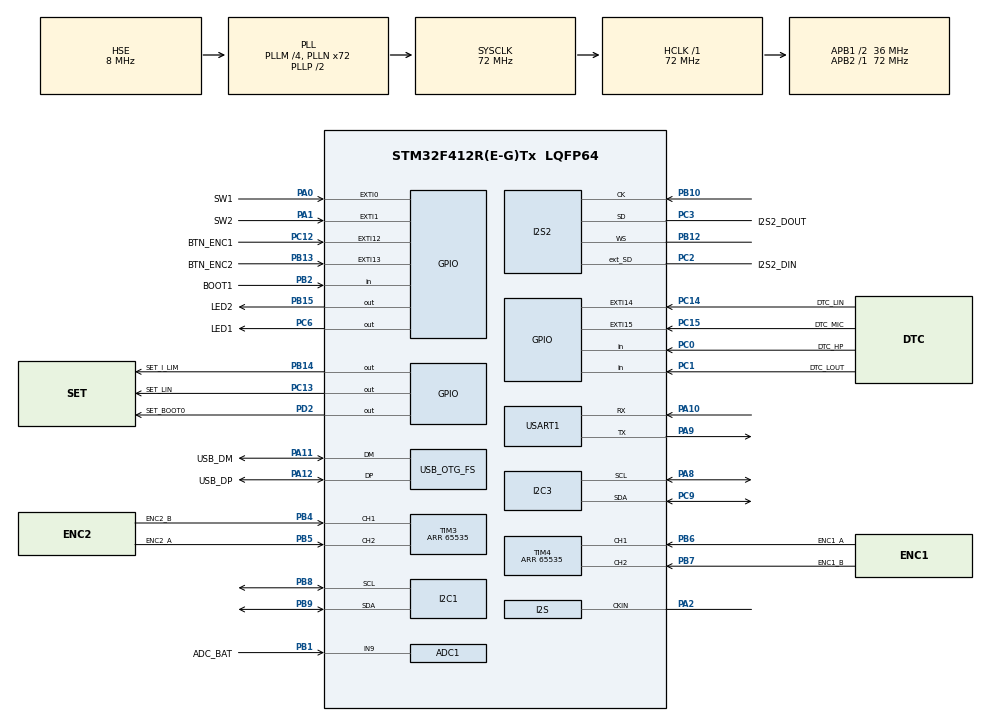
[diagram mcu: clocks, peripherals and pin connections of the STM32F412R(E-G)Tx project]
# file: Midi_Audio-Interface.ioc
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ADC1.Channel-1\#ChannelRegularConversion=ADC_CHANNEL_9
ADC1.NbrOfConversionFlag=1
ADC1.Rank-1\#ChannelRegularConversion=1
ADC1.SamplingTime-1\#ChannelRegularConversion=ADC_SAMPLETIME_3CYCLES
ADC1.master=1
Dma.I2S2_EXT_RX.0.Direction=DMA_PERIPH_TO_MEMORY
Dma.I2S2_EXT_RX.0.FIFOMode=DMA_FIFOMODE_ENABLE
Dma.I2S2_EXT_RX.0.FIFOThreshold=DMA_FIFO_THRESHOLD_HALFFULL
Dma.I2S2_EXT_RX.0.Instance=DMA1_Stream3
Dma.I2S2_EXT_RX.0.MemBurst=DMA_MBURST_SINGLE
Dma.I2S2_EXT_RX.0.MemDataAlignment=DMA_MDATAALIGN_HALFWORD
Dma.I2S2_EXT_RX.0.MemInc=DMA_MINC_ENABLE
Dma.I2S2_EXT_RX.0.Mode=DMA_CIRCULAR
Dma.I2S2_EXT_RX.0.PeriphBurst=DMA_PBURST_SINGLE
Dma.I2S2_EXT_RX.0.PeriphDataAlignment=DMA_PDATAALIGN_HALFWORD
Dma.I2S2_EXT_RX.0.PeriphInc=DMA_PINC_DISABLE
Dma.I2S2_EXT_RX.0.Priority=DMA_PRIORITY_HIGH
Dma.Request0=I2S2_EXT_RX
Dma.Request1=SPI2_TX
Dma.SPI2_TX.1.Direction=DMA_MEMORY_TO_PERIPH
Dma.SPI2_TX.1.FIFOMode=DMA_FIFOMODE_ENABLE
Dma.SPI2_TX.1.FIFOThreshold=DMA_FIFO_THRESHOLD_HALFFULL
Dma.SPI2_TX.1.Instance=DMA1_Stream4
Dma.SPI2_TX.1.MemBurst=DMA_MBURST_SINGLE
Dma.SPI2_TX.1.MemDataAlignment=DMA_MDATAALIGN_HALFWORD
Dma.SPI2_TX.1.MemInc=DMA_MINC_ENABLE
Dma.SPI2_TX.1.Mode=DMA_CIRCULAR
Dma.SPI2_TX.1.PeriphBurst=DMA_PBURST_SINGLE
Dma.SPI2_TX.1.PeriphDataAlignment=DMA_PDATAALIGN_HALFWORD
Dma.SPI2_TX.1.PeriphInc=DMA_PINC_DISABLE
Dma.SPI2_TX.1.Priority=DMA_PRIORITY_HIGH
I2S2.AudioFreq=I2S_AUDIOFREQ_48K
I2S2.DataFormat=I2S_DATAFORMAT_16B_EXTENDED
I2S2.ErrorAudioFreq=0.0 %
I2S2.FullDuplexMode=I2S_FULLDUPLEXMODE_ENABLE
I2S2.Instance=SPI$Index
I2S2.RealAudioFreq=48.0 KHz
I2S2.Standard=I2S_STANDARD_MSB
I2S2.VirtualMode=I2S_MODE_SLAVE
Mcu.Family=STM32F4
Mcu.Name=STM32F412R(E-G)Tx
Mcu.Package=LQFP64
NVIC.DMA1_Stream3_IRQn=true\:0\:0\:false\:false\:true\:false\:true
NVIC.DMA1_Stream4_IRQn=true\:0\:0\:false\:false\:true\:false\:true
NVIC.EXTI0_IRQn=true\:0\:0\:false\:false\:true\:true\:true
NVIC.EXTI15_10_IRQn=true\:0\:0\:false\:false\:true\:true\:true
NVIC.EXTI1_IRQn=true\:0\:0\:false\:false\:true\:true\:true
NVIC.OTG_FS_IRQn=true\:0\:0\:false\:false\:true\:true\:true
NVIC.PriorityGroup=NVIC_PRIORITYGROUP_4
NVIC.RNG_IRQn=true\:0\:0\:false\:false\:true\:true\:true
PA0.GPIO_Label=SW1
PA0.Signal=GPXTI0
PA1.GPIO_Label=SW2
PA1.Signal=GPXTI1
PA10.Mode=Asynchronous
PA10.Signal=USART1_RX
PA11.GPIO_Label=USB_DM
PA11.Mode=Device_Only
PA11.Signal=USB_OTG_FS_DM
PA12.GPIO_Label=USB_DP
PA12.Mode=Device_Only
PA12.Signal=USB_OTG_FS_DP
PA13.Mode=JTAG_4_pins
PA13.Signal=SYS_JTMS-SWDIO
PA14.Mode=JTAG_4_pins
PA14.Signal=SYS_JTCK-SWCLK
PA15.Mode=JTAG_4_pins
PA15.Signal=SYS_JTDI
PA2.Mode=Audio_ClockIn
PA2.Signal=I2S_CKIN
PA8.Mode=I2C
PA8.Signal=I2C3_SCL
PA9.Mode=Asynchronous
PA9.Signal=USART1_TX
PB1.GPIO_Label=ADC_BAT
PB1.Signal=ADCx_IN9
PB10.Mode=Full_Duplex_Slave
PB10.Signal=I2S2_CK
PB12.Mode=Full_Duplex_Slave
PB12.Signal=I2S2_WS
PB13.GPIO_Label=BTN_ENC2
PB13.Signal=GPXTI13
PB14.GPIO_Label=SET_I_LIM
PB14.Signal=GPIO_Output
PB15.GPIO_Label=LED2
PB15.Signal=GPIO_Output
PB2.GPIO_Label=BOOT1
PB2.Signal=GPIO_Input
PB3.Mode=JTAG_4_pins
PB3.Signal=SYS_JTDO-SWO
PB4.GPIO_Label=ENC2_B
PB4.Signal=S_TIM3_CH1
PB5.GPIO_Label=ENC2_A
PB5.Signal=S_TIM3_CH2
PB6.GPIO_Label=ENC1_A
PB6.Signal=S_TIM4_CH1
PB7.GPIO_Label=ENC1_B
PB7.Signal=S_TIM4_CH2
PB8.Mode=I2C
PB8.Signal=I2C1_SCL
PB9.Mode=I2C
PB9.Signal=I2C1_SDA
PC0.GPIO_Label=DTC_HP
PC0.Signal=GPIO_Input
PC1.GPIO_Label=DTC_LOUT
PC1.Signal=GPIO_Input
PC12.GPIO_Label=BTN_ENC1
PC12.Signal=GPXTI12
PC13.GPIO_Label=SET_LIN
PC13.Signal=GPIO_Output
PC14-OSC32_IN.GPIO_Label=DTC_LIN
PC14-OSC32_IN.GPIO_ModeDefaultEXTI=GPIO_MODE_IT_RISING_FALLING
PC14-OSC32_IN.Signal=GPXTI14
PC15-OSC32_OUT.GPIO_Label=DTC_MIC
PC15-OSC32_OUT.GPIO_ModeDefaultEXTI=GPIO_MODE_IT_RISING_FALLING
PC15-OSC32_OUT.Signal=GPXTI15
PC2.GPIO_Label=I2S2_DIN
PC2.Mode=Full_Duplex_Slave
PC2.Signal=I2S2_ext_SD
PC3.GPIO_Label=I2S2_DOUT
PC3.Mode=Full_Duplex_Slave
PC3.Signal=I2S2_SD
PC6.GPIO_Label=LED1
PC6.Signal=GPIO_Output
PC9.Mode=I2C
PC9.Signal=I2C3_SDA
PD2.GPIO_Label=SET_BOOT0
PD2.Signal=GPIO_Output
PH0\ -\ OSC_IN.Mode=HSE-External-Oscillator
PH0\ -\ OSC_IN.Signal=RCC_OSC_IN
PH1\ -\ OSC_OUT.Mode=HSE-External-Oscillator
PH1\ -\ OSC_OUT.Signal=RCC_OSC_OUT
ProjectManager.HeapSize=0x2800
ProjectManager.StackSize=0x400
ProjectManager.TargetToolchain=STM32CubeIDE
RCC.AHBFreq_Value=72000000
RCC.APB1CLKDivider=RCC_HCLK_DIV2
RCC.APB1Freq_Value=36000000
RCC.APB1TimFreq_Value=72000000
RCC.APB2Freq_Value=72000000
RCC.APB2TimFreq_Value=72000000
RCC.CortexFreq_Value=72000000
RCC.EXTERNAL_CLOCK_VALUE=12288000
RCC.HCLKFreq_Value=72000000
RCC.HSE_VALUE=8000000
RCC.I2S1CLockSelection=RCC_I2SAPB1CLKSOURCE_EXT
RCC.PLLI2SM=6
RCC.PLLI2SN=75
RCC.PLLI2SSource=RCC_PLLI2SCLKSOURCE_EXT
RCC.PLLM=4
RCC.PLLN=72
RCC.PLLQ=3
RCC.PLLSourceVirtual=RCC_PLLSOURCE_HSE
RCC.SYSCLKFreq_VALUE=72000000
RCC.SYSCLKSource=RCC_SYSCLKSOURCE_PLLCLK
RCC.USBFreq_Value=48000000
RCC.VCOOutputFreq_Value=144000000
SH.ADCx_IN9.0=ADC1_IN9,IN9
SH.S_TIM3_CH1.0=TIM3_CH1,Encoder_Interface
SH.S_TIM3_CH2.0=TIM3_CH2,Encoder_Interface
SH.S_TIM4_CH1.0=TIM4_CH1,Encoder_Interface
SH.S_TIM4_CH2.0=TIM4_CH2,Encoder_Interface
TIM3.CounterMode=TIM_COUNTERMODE_UP
TIM3.EncoderMode=TIM_ENCODERMODE_TI1
TIM3.IC1Filter=10
TIM3.IC2Filter=10
TIM3.Period=65535
TIM4.IC1Filter=10
TIM4.IC2Filter=10
TIM4.Period=65535
USART1.VirtualMode=VM_ASYNC
USB_DEVICE.CLASS_NAME_FS=AUDIO
USB_DEVICE.MANUFACTURER_STRING=Audio Interface
USB_DEVICE.PRODUCT_STRING_AUDIO_FS=DSP-Board
USB_DEVICE.USBD_AUDIO_FREQ=48000
USB_DEVICE.USBD_DEBUG_LEVEL=3
USB_DEVICE.USBD_MAX_NUM_INTERFACES=8
USB_DEVICE.VirtualMode=Audio
USB_DEVICE.VirtualModeFS=Audio_FS
USB_OTG_FS.Sof_enable=DISABLE
USB_OTG_FS.VirtualMode=Device_Only
VP_RNG_VS_RNG.Mode=RNG_Activate
VP_USB_DEVICE_VS_USB_DEVICE_AUDIO_FS.Mode=AUDIO_FS
board=custom

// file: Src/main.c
/* USER CODE BEGIN Header */
/**
  ******************************************************************************
  * @file           : main.c
  * @brief          : Main program body
  ******************************************************************************
  * @attention
  *
  * <h2><center>&copy; Copyright (c) 2020 STMicroelectronics.
  * All rights reserved.</center></h2>
  *
  * This software component is licensed by ST under Ultimate Liberty license
  * SLA0044, the "License"; You may not use this file except in compliance with
  * the License. You may obtain a copy of the License at:
  *                             www.st.com/SLA0044
  *
  ******************************************************************************
  */
/* USER CODE END Header */
#include "main.h"
#include "usb_device.h"

/* USER CODE BEGIN Includes */
#include <stdio.h>
#include <stdlib.h>
#include <math.h>
#include "ssd1306.h"
#include "tlv320aic.h"
#include "dsp_board_bsp.h"
#include "dsp_processing.h"

#include "usbd_core.h"
#include "usbd_desc.h"
#include "usbd_audio.h"
#include "usbd_audio_if.h"

/* USER CODE END Includes */

/* USER CODE BEGIN PD */
// #define ENABLE_PRINTF
#define HAL_PWR_MODULE_ENABLED
/* USER CODE END PD */

ADC_HandleTypeDef hadc1;

I2C_HandleTypeDef hi2c1;
I2C_HandleTypeDef hi2c3;

I2S_HandleTypeDef hi2s2;
DMA_HandleTypeDef hdma_i2s2_ext_rx;
DMA_HandleTypeDef hdma_spi2_tx;

RNG_HandleTypeDef hrng;

TIM_HandleTypeDef htim3;
TIM_HandleTypeDef htim4;

UART_HandleTypeDef huart1;

/* USER CODE BEGIN PV */
//SAI_HandleTypeDef haudio_out_sai;
USBD_HandleTypeDef USBD_Device;
//AUDIO_STATUS_TypeDef audio_status;

SSD1306_t holedR;
SSD1306_t holedL;

uint16_t pTxData[DSP_BUFFERSIZE_DOUBLE];
uint16_t pRxData[DSP_BUFFERSIZE_DOUBLE];
uint16_t sinWave[256];

volatile uint8_t btnLeftPressed = 0;
volatile uint8_t btnRightPressed = 0;
volatile uint8_t encLeftPressed = 0;
volatile uint8_t encRightPressed = 0;
volatile uint8_t dmaTransferComplete = 0;

int16_t encoder_change=0;
char lcd_buf[64];
uint8_t level=0; //akku level state
parameter *para0,*para1,*para2,*para3;
statemachine state_crrnt=IN;
statemachine state_nxt=IN;
int *volume_line;
int *volume_hp;
effect In;

extern volatile uint16_t dsp_mode;
extern volatile uint32_t buffer_offset;

/* Define external variables*/

USBD_AUDIO_ItfTypeDef audio_class_interface;
/* USER CODE END PV */

void SystemClock_Config(void);
static void MX_GPIO_Init(void);
static void MX_DMA_Init(void);
static void MX_I2C1_Init(void);
static void MX_I2C3_Init(void);
static void MX_USART1_UART_Init(void);
static void MX_I2S2_Init(void);
static void MX_TIM3_Init(void);
static void MX_TIM4_Init(void);
static void MX_RNG_Init(void);
static void MX_ADC1_Init(void);
/* USER CODE BEGIN PFP */
void showFX(effect *fx);
void updateAkku(void);
void clearFX(void);
/* USER CODE END PFP */

/* USER CODE BEGIN 0 */
/* PRINTF REDIRECT to UART BEGIN */
/** @see    http://www.keil.com/forum/60531/ */
/** @see    https://stackoverflow.com/questions/45535126/stm32-printf-redirect */

struct __FILE{
  int handle;
  /* Whatever you require here. If the only file you are using is */
  /* standard output using printf() for debugging, no file handling */
  /* is required. */
};

FILE __stdout;

int fputc(int ch, FILE *f){
	HAL_UART_Transmit(&huart1, (uint8_t *)&ch, 1, 0xFFFF);
  return ch;
}

//int	 ferror(FILE *){
//  /* Your implementation of ferror(). */
//  return 0;
//}
/* PRINTF REDIRECT to UART END */

/* USER CODE END 0 */

int main(void)
{

  /* MCU Configuration--------------------------------------------------------*/

  /* Reset of all peripherals, Initializes the Flash interface and the Systick. */
  HAL_Init();

  /* USER CODE BEGIN Init */
	/* Init Device Library */
	USBD_Init(&USBD_Device, &FS_Desc, 0);

	/* Add Supported Class */
	USBD_RegisterClass(&USBD_Device, USBD_AUDIO_CLASS);

	/* Add Interface callbacks for AUDIO Class */
	USBD_AUDIO_RegisterInterface(&USBD_Device, &audio_class_interface);

	/* Start Device Process */
	USBD_Start(&USBD_Device);

  /* USER CODE END Init */

  /* Configure the system clock */
  SystemClock_Config();

  /* Initialize all configured peripherals */
  MX_GPIO_Init();
  MX_DMA_Init();
  MX_I2C1_Init();
  MX_I2C3_Init();
  MX_USART1_UART_Init();
  MX_I2S2_Init();
  MX_TIM3_Init();
  MX_TIM4_Init();
  MX_RNG_Init();
  MX_ADC1_Init();
  MX_USB_DEVICE_Init();
  /* USER CODE BEGIN 2 */

   /* Set up SSD1306 OLED Displays on both I2C Busses */
 	holedR.hi2cx = &hi2c3;
 	holedL.hi2cx = &hi2c1;
 	ssd1306_Init(&holedL);
 	ssd1306_Fill(&holedL, Black);
 	ssd1306_DrawHLine(&holedL,0,128,13,White);
 	ssd1306_DrawHLine(&holedL,0,128,48,White);
 	ssd1306_UpdateScreen(&holedL);
 	ssd1306_Init(&holedR);
 	ssd1306_Fill(&holedR, Black);
 	ssd1306_DrawHLine(&holedR,0,128,13,White);
 	ssd1306_DrawHLine(&holedR,0,128,48,White);
 	ssd1306_UpdateScreen(&holedR);

   /* If User Button is pressed on Startup, enter DFU Firmware Upgrade Mode */
 	if(HAL_GPIO_ReadPin(SW2_GPIO_Port, SW2_Pin) == GPIO_PIN_SET){
 		HAL_GPIO_WritePin(SET_BOOT0_GPIO_Port, SET_BOOT0_Pin, GPIO_PIN_SET);  // pull BOOT0 = 1
 		ssd1306_SetCursor(&holedL, 48, 23);
 		ssd1306_WriteString(&holedL, "DFU", Font_11x18, White);
 		ssd1306_UpdateScreen(&holedL);
 		ssd1306_SetCursor(&holedR, 42, 23);
 		ssd1306_WriteString(&holedR, "MODE", Font_11x18, White);
 		ssd1306_UpdateScreen(&holedR);
 		HAL_Delay(500);      // wait for Capacitor to charge to ~3.3V
 		NVIC_SystemReset();  // Reset the MCU
 	}else{
 		ssd1306_SetCursor(&holedL, 48, 23);
 		ssd1306_WriteString(&holedL, "DSP", Font_11x18, White);
 		ssd1306_UpdateScreen(&holedL);
 		ssd1306_SetCursor(&holedR, 37, 23);
 		ssd1306_WriteString(&holedR, "BOARD", Font_11x18, White);
 		ssd1306_UpdateScreen(&holedR);
 	}

 	/* Start ADC for Battery Voltage */
 	HAL_ADC_Start(&hadc1);
 	if(HAL_ADC_PollForConversion(&hadc1, 5) == HAL_OK){
 		HAL_ADC_GetValue(&hadc1);
 	}

 	/* Start both Timers in Encoder Mode for Rotary Encoders */
 	HAL_TIM_Encoder_Start(&htim3, TIM_CHANNEL_1); // start encoder mode
 	HAL_TIM_Encoder_Start(&htim4, TIM_CHANNEL_1);
 	TIM3->CNT = 0; // initialize zero
 	TIM4->CNT = 0;

 	/* define the input state */
 	strcpy(In.title,"Input");
 	strcpy(In.par0.name,"Line Vol");
 	In.par0.value=17; //Line Vol, init value
 	In.par0.max=22; //Line Vol, maximum
 	In.par0.min=0; //Line Vol, minimum
 	In.par0.change=1; //Line Vol, step size
 	strcpy(In.par1.name,"Source");
 	In.par1.value=3;
 	In.par1.max=3;
 	In.par1.min=0;
 	In.par1.change=1;
 	strcpy(In.par2.name,"HP Vol");
 	In.par2.value=70; //HP Vol, init value
 	In.par2.max=78; //HP Vol, maximum
 	In.par2.min=0; //HP Vol, minimum
 	In.par2.change=1; //HP Vol, step size

 	input_source=&In.par1.value;
 	volume_line=&In.par0.value;
 	volume_hp=&In.par2.value;

 	/* Init TLV320 Audio Codec */
 	TLV320_Init(&hi2c1);
 	BSP_SelectAudioIn(*input_source);
 	TLV320_SetLineInVol(*volume_line);
 	TLV320_SetHeadphoneVol(*volume_hp);

   /* Signal Processing */
 	dsp_mode = DSP_MODE_PASSTHROUGH;

 	/* Clear Audio Rx and Tx buffer for DMA */
 	for(uint16_t i=0; i<DSP_BUFFERSIZE_DOUBLE; i++){
 		pRxData[i] = 0;
 		pTxData[i] = 0;
 	}

 	/* Generate a 1kHz Sine Wave */
 	//uint16_t nDataPoints = BSP_SineWave(48000.0f, 1000.0f, 1000, sinWave, sizeof(sinWave)/sizeof(uint16_t));
 	uint8_t update_counter = 0;

	/* Start automatic DMA Transmission (Full Duplex) */
	/* Double buffer length, Interrupt on Half-Full */
	HAL_I2SEx_TransmitReceive_DMA(&hi2s2, pTxData, pRxData, DSP_BUFFERSIZE_DOUBLE);

	/* show startup screen for 1s (and then clear it) */
	HAL_Delay(1000);
	ssd1306_Fill(&holedR, Black);
	ssd1306_Fill(&holedL, Black);
	ssd1306_DrawHLine(&holedL,0,128,13,White);
	ssd1306_DrawHLine(&holedL,0,128,48,White);
	ssd1306_UpdateScreen(&holedL);
	ssd1306_DrawHLine(&holedR,0,128,13,White);
	ssd1306_DrawHLine(&holedR,0,128,48,White);
	ssd1306_UpdateScreen(&holedR);
	updateAkku();

  /* USER CODE END 2 */

  /* Infinite loop */
  while (1)
  {

    /* USER CODE BEGIN 3 */
//	  if (audio_status.playing) {
//		  HAL_GPIO_WritePin(LED1_GPIO_Port, LED1_Pin, GPIO_PIN_SET);
//	      } else {
//	    	  HAL_GPIO_WritePin(LED1_GPIO_Port, LED1_Pin, GPIO_PIN_RESET);
//	      }

	    if(state_nxt!=state_crrnt){
			clearFX();
			}

			state_crrnt = state_nxt;
			update_counter ++;

	    /* STATE MACHINE */
			switch (state_crrnt){
				case IN:
					showFX(&In);
					BSP_SelectAudioIn(*input_source);
					break;

	      /* State Machine Includes */

				default:
					break;
			}

			encoder_change = BSP_ReadEncoder_Difference(ENCODER_LEFT);
			if(encoder_change){    // only execute when something changed
				(*para0).value+=encoder_change*(*para0).change;
				if((*para0).value<(*para0).min)
					(*para0).value=(*para0).min;
				if((*para0).value>(*para0).max)
					(*para0).value=(*para0).max;
			}

			encoder_change = BSP_ReadEncoder_Difference(ENCODER_RIGHT);
			if(encoder_change){    // only execute when something changed
				(*para2).value+=encoder_change*(*para2).change;
				if((*para2).value<(*para2).min)
					(*para2).value=(*para2).min;
				if((*para2).value>(*para2).max)
					(*para2).value=(*para2).max;
			}

			/* LEFT USER BUTTON */
			if(btnLeftPressed){
				btnLeftPressed= 0;
				if(state_crrnt==IN){
					if((*para1).value-1<(*para1).min)
						(*para1).value=(*para1).max;
					else
						(*para1).value-=1;
				}else{
				(*para1).value=!(*para1).value;
				}
			}

			/* RIGHT USER BUTTON */
			if(btnRightPressed){
				btnRightPressed= 0;
				if(state_crrnt==IN){
					if((*para1).value+1>(*para1).max)
						(*para1).value=(*para1).min;
					else
						(*para1).value+=1;
				}else{
					(*para3).value=!(*para3).value;
				}
			}

			/* LEFT ENCODER BUTTON */
			if(encLeftPressed){
				encLeftPressed = 0;
				/*switch to the previous state (limit first state)*/
				if(state_nxt-1<0){
				state_nxt=0;
				}else{
				state_nxt--;
				}
			}

			/* RIGHT ENCODER BUTTON */
			if(encRightPressed){
				encRightPressed = 0;
				/*switch to the next state (limit last state)*/
				if(state_nxt+1>CNT-1){
				state_nxt=CNT-1;
				}else{
				state_nxt++;
				}
			}

	    //limit line vol
			if(*volume_line>22)
				*volume_line=22;
			else if(*volume_line<0)
				*volume_line=0;
			//limit HP vol
			if(*volume_hp>78)
				*volume_hp=78;
			else if(*volume_hp<0)
				*volume_hp=0;
			TLV320_SetLineInVol(*volume_line);
			TLV320_SetHeadphoneVol(*volume_hp);

			/* update the battery level (every 50 counts) */
			if(update_counter >= 50){
				update_counter = 0;
				updateAkku();
			}

	  }
  /* USER CODE END 3 */
}

void SystemClock_Config(void)
{
  RCC_OscInitTypeDef RCC_OscInitStruct = {0};
  RCC_ClkInitTypeDef RCC_ClkInitStruct = {0};
  RCC_PeriphCLKInitTypeDef PeriphClkInitStruct = {0};

  /** Configure the main internal regulator output voltage
  */
  __HAL_RCC_PWR_CLK_ENABLE();
  __HAL_PWR_VOLTAGESCALING_CONFIG(PWR_REGULATOR_VOLTAGE_SCALE1);
  /** Initializes the RCC Oscillators according to the specified parameters
  * in the RCC_OscInitTypeDef structure.
  */
  RCC_OscInitStruct.OscillatorType = RCC_OSCILLATORTYPE_HSE;
  RCC_OscInitStruct.HSEState = RCC_HSE_ON;
  RCC_OscInitStruct.PLL.PLLState = RCC_PLL_ON;
  RCC_OscInitStruct.PLL.PLLSource = RCC_PLLSOURCE_HSE;
  RCC_OscInitStruct.PLL.PLLM = 4;
  RCC_OscInitStruct.PLL.PLLN = 72;
  RCC_OscInitStruct.PLL.PLLP = RCC_PLLP_DIV2;
  RCC_OscInitStruct.PLL.PLLQ = 3;
  RCC_OscInitStruct.PLL.PLLR = 2;
  if (HAL_RCC_OscConfig(&RCC_OscInitStruct) != HAL_OK)
  {
    Error_Handler();
  }
  /** Initializes the CPU, AHB and APB buses clocks
  */
  RCC_ClkInitStruct.ClockType = RCC_CLOCKTYPE_HCLK|RCC_CLOCKTYPE_SYSCLK
                              |RCC_CLOCKTYPE_PCLK1|RCC_CLOCKTYPE_PCLK2;
  RCC_ClkInitStruct.SYSCLKSource = RCC_SYSCLKSOURCE_PLLCLK;
  RCC_ClkInitStruct.AHBCLKDivider = RCC_SYSCLK_DIV1;
  RCC_ClkInitStruct.APB1CLKDivider = RCC_HCLK_DIV2;
  RCC_ClkInitStruct.APB2CLKDivider = RCC_HCLK_DIV1;

  if (HAL_RCC_ClockConfig(&RCC_ClkInitStruct, FLASH_LATENCY_2) != HAL_OK)
  {
    Error_Handler();
  }
  PeriphClkInitStruct.PeriphClockSelection = RCC_PERIPHCLK_I2S_APB1|RCC_PERIPHCLK_CLK48;
  PeriphClkInitStruct.Clk48ClockSelection = RCC_CLK48CLKSOURCE_PLLQ;
  PeriphClkInitStruct.I2sApb1ClockSelection = RCC_I2SAPB1CLKSOURCE_EXT;
  if (HAL_RCCEx_PeriphCLKConfig(&PeriphClkInitStruct) != HAL_OK)
  {
    Error_Handler();
  }
}

static void MX_ADC1_Init(void)
{

  ADC_ChannelConfTypeDef sConfig = {0};

  /** Configure the global features of the ADC (Clock, Resolution, Data Alignment and number of conversion)
  */
  hadc1.Instance = ADC1;
  hadc1.Init.ClockPrescaler = ADC_CLOCK_SYNC_PCLK_DIV2;
  hadc1.Init.Resolution = ADC_RESOLUTION_12B;
  hadc1.Init.ScanConvMode = DISABLE;
  hadc1.Init.ContinuousConvMode = DISABLE;
  hadc1.Init.DiscontinuousConvMode = DISABLE;
  hadc1.Init.ExternalTrigConvEdge = ADC_EXTERNALTRIGCONVEDGE_NONE;
  hadc1.Init.ExternalTrigConv = ADC_SOFTWARE_START;
  hadc1.Init.DataAlign = ADC_DATAALIGN_RIGHT;
  hadc1.Init.NbrOfConversion = 1;
  hadc1.Init.DMAContinuousRequests = DISABLE;
  hadc1.Init.EOCSelection = ADC_EOC_SINGLE_CONV;
  if (HAL_ADC_Init(&hadc1) != HAL_OK)
  {
    Error_Handler();
  }
  /** Configure for the selected ADC regular channel its corresponding rank in the sequencer and its sample time.
  */
  sConfig.Channel = ADC_CHANNEL_9;
  sConfig.Rank = 1;
  sConfig.SamplingTime = ADC_SAMPLETIME_3CYCLES;
  if (HAL_ADC_ConfigChannel(&hadc1, &sConfig) != HAL_OK)
  {
    Error_Handler();
  }

}

static void MX_I2C1_Init(void)
{

  hi2c1.Instance = I2C1;
  hi2c1.Init.ClockSpeed = 100000;
  hi2c1.Init.DutyCycle = I2C_DUTYCYCLE_2;
  hi2c1.Init.OwnAddress1 = 0;
  hi2c1.Init.AddressingMode = I2C_ADDRESSINGMODE_7BIT;
  hi2c1.Init.DualAddressMode = I2C_DUALADDRESS_DISABLE;
  hi2c1.Init.OwnAddress2 = 0;
  hi2c1.Init.GeneralCallMode = I2C_GENERALCALL_DISABLE;
  hi2c1.Init.NoStretchMode = I2C_NOSTRETCH_DISABLE;
  if (HAL_I2C_Init(&hi2c1) != HAL_OK)
  {
    Error_Handler();
  }

}

static void MX_I2C3_Init(void)
{

  hi2c3.Instance = I2C3;
  hi2c3.Init.ClockSpeed = 100000;
  hi2c3.Init.DutyCycle = I2C_DUTYCYCLE_2;
  hi2c3.Init.OwnAddress1 = 0;
  hi2c3.Init.AddressingMode = I2C_ADDRESSINGMODE_7BIT;
  hi2c3.Init.DualAddressMode = I2C_DUALADDRESS_DISABLE;
  hi2c3.Init.OwnAddress2 = 0;
  hi2c3.Init.GeneralCallMode = I2C_GENERALCALL_DISABLE;
  hi2c3.Init.NoStretchMode = I2C_NOSTRETCH_DISABLE;
  if (HAL_I2C_Init(&hi2c3) != HAL_OK)
  {
    Error_Handler();
  }

}

static void MX_I2S2_Init(void)
{

  hi2s2.Instance = SPI2;
  hi2s2.Init.Mode = I2S_MODE_SLAVE_TX;
  hi2s2.Init.Standard = I2S_STANDARD_MSB;
  hi2s2.Init.DataFormat = I2S_DATAFORMAT_16B_EXTENDED;
  hi2s2.Init.MCLKOutput = I2S_MCLKOUTPUT_DISABLE;
  hi2s2.Init.AudioFreq = I2S_AUDIOFREQ_48K;
  hi2s2.Init.CPOL = I2S_CPOL_LOW;
  hi2s2.Init.ClockSource = I2S_CLOCK_EXTERNAL;
  hi2s2.Init.FullDuplexMode = I2S_FULLDUPLEXMODE_ENABLE;
  if (HAL_I2S_Init(&hi2s2) != HAL_OK)
  {
    Error_Handler();
  }

}

static void MX_RNG_Init(void)
{

  hrng.Instance = RNG;
  if (HAL_RNG_Init(&hrng) != HAL_OK)
  {
    Error_Handler();
  }

}

static void MX_TIM3_Init(void)
{

  TIM_Encoder_InitTypeDef sConfig = {0};
  TIM_MasterConfigTypeDef sMasterConfig = {0};

  htim3.Instance = TIM3;
  htim3.Init.Prescaler = 0;
  htim3.Init.CounterMode = TIM_COUNTERMODE_UP;
  htim3.Init.Period = 65535;
  htim3.Init.ClockDivision = TIM_CLOCKDIVISION_DIV1;
  htim3.Init.AutoReloadPreload = TIM_AUTORELOAD_PRELOAD_DISABLE;
  sConfig.EncoderMode = TIM_ENCODERMODE_TI1;
  sConfig.IC1Polarity = TIM_ICPOLARITY_RISING;
  sConfig.IC1Selection = TIM_ICSELECTION_DIRECTTI;
  sConfig.IC1Prescaler = TIM_ICPSC_DIV1;
  sConfig.IC1Filter = 10;
  sConfig.IC2Polarity = TIM_ICPOLARITY_RISING;
  sConfig.IC2Selection = TIM_ICSELECTION_DIRECTTI;
  sConfig.IC2Prescaler = TIM_ICPSC_DIV1;
  sConfig.IC2Filter = 10;
  if (HAL_TIM_Encoder_Init(&htim3, &sConfig) != HAL_OK)
  {
    Error_Handler();
  }
  sMasterConfig.MasterOutputTrigger = TIM_TRGO_RESET;
  sMasterConfig.MasterSlaveMode = TIM_MASTERSLAVEMODE_DISABLE;
  if (HAL_TIMEx_MasterConfigSynchronization(&htim3, &sMasterConfig) != HAL_OK)
  {
    Error_Handler();
  }

}

static void MX_TIM4_Init(void)
{

  TIM_Encoder_InitTypeDef sConfig = {0};
  TIM_MasterConfigTypeDef sMasterConfig = {0};

  htim4.Instance = TIM4;
  htim4.Init.Prescaler = 0;
  htim4.Init.CounterMode = TIM_COUNTERMODE_UP;
  htim4.Init.Period = 65535;
  htim4.Init.ClockDivision = TIM_CLOCKDIVISION_DIV1;
  htim4.Init.AutoReloadPreload = TIM_AUTORELOAD_PRELOAD_DISABLE;
  sConfig.EncoderMode = TIM_ENCODERMODE_TI1;
  sConfig.IC1Polarity = TIM_ICPOLARITY_RISING;
  sConfig.IC1Selection = TIM_ICSELECTION_DIRECTTI;
  sConfig.IC1Prescaler = TIM_ICPSC_DIV1;
  sConfig.IC1Filter = 10;
  sConfig.IC2Polarity = TIM_ICPOLARITY_RISING;
  sConfig.IC2Selection = TIM_ICSELECTION_DIRECTTI;
  sConfig.IC2Prescaler = TIM_ICPSC_DIV1;
  sConfig.IC2Filter = 10;
  if (HAL_TIM_Encoder_Init(&htim4, &sConfig) != HAL_OK)
  {
    Error_Handler();
  }
  sMasterConfig.MasterOutputTrigger = TIM_TRGO_RESET;
  sMasterConfig.MasterSlaveMode = TIM_MASTERSLAVEMODE_DISABLE;
  if (HAL_TIMEx_MasterConfigSynchronization(&htim4, &sMasterConfig) != HAL_OK)
  {
    Error_Handler();
  }

}

static void MX_USART1_UART_Init(void)
{

  huart1.Instance = USART1;
  huart1.Init.BaudRate = 115200;
  huart1.Init.WordLength = UART_WORDLENGTH_8B;
  huart1.Init.StopBits = UART_STOPBITS_1;
  huart1.Init.Parity = UART_PARITY_NONE;
  huart1.Init.Mode = UART_MODE_TX_RX;
  huart1.Init.HwFlowCtl = UART_HWCONTROL_NONE;
  huart1.Init.OverSampling = UART_OVERSAMPLING_16;
  if (HAL_UART_Init(&huart1) != HAL_OK)
  {
    Error_Handler();
  }

}

static void MX_DMA_Init(void)
{

  /* DMA controller clock enable */
  __HAL_RCC_DMA1_CLK_ENABLE();

  /* DMA interrupt init */
  /* DMA1_Stream3_IRQn interrupt configuration */
  HAL_NVIC_SetPriority(DMA1_Stream3_IRQn, 0, 0);
  HAL_NVIC_EnableIRQ(DMA1_Stream3_IRQn);
  /* DMA1_Stream4_IRQn interrupt configuration */
  HAL_NVIC_SetPriority(DMA1_Stream4_IRQn, 0, 0);
  HAL_NVIC_EnableIRQ(DMA1_Stream4_IRQn);

}

static void MX_GPIO_Init(void)
{
  GPIO_InitTypeDef GPIO_InitStruct = {0};

  /* GPIO Ports Clock Enable */
  __HAL_RCC_GPIOC_CLK_ENABLE();
  __HAL_RCC_GPIOH_CLK_ENABLE();
  __HAL_RCC_GPIOA_CLK_ENABLE();
  __HAL_RCC_GPIOB_CLK_ENABLE();
  __HAL_RCC_GPIOD_CLK_ENABLE();

  /*Configure GPIO pin Output Level */
  HAL_GPIO_WritePin(GPIOC, SET_LIN_Pin|LED1_Pin, GPIO_PIN_RESET);

  /*Configure GPIO pin Output Level */
  HAL_GPIO_WritePin(GPIOB, SET_I_LIM_Pin|LED2_Pin, GPIO_PIN_RESET);

  /*Configure GPIO pin Output Level */
  HAL_GPIO_WritePin(SET_BOOT0_GPIO_Port, SET_BOOT0_Pin, GPIO_PIN_RESET);

  /*Configure GPIO pins : SET_LIN_Pin LED1_Pin */
  GPIO_InitStruct.Pin = SET_LIN_Pin|LED1_Pin;
  GPIO_InitStruct.Mode = GPIO_MODE_OUTPUT_PP;
  GPIO_InitStruct.Pull = GPIO_NOPULL;
  GPIO_InitStruct.Speed = GPIO_SPEED_FREQ_LOW;
  HAL_GPIO_Init(GPIOC, &GPIO_InitStruct);

  /*Configure GPIO pins : DTC_LIN_Pin DTC_MIC_Pin */
  GPIO_InitStruct.Pin = DTC_LIN_Pin|DTC_MIC_Pin;
  GPIO_InitStruct.Mode = GPIO_MODE_IT_RISING_FALLING;
  GPIO_InitStruct.Pull = GPIO_NOPULL;
  HAL_GPIO_Init(GPIOC, &GPIO_InitStruct);

  /*Configure GPIO pins : DTC_HP_Pin DTC_LOUT_Pin */
  GPIO_InitStruct.Pin = DTC_HP_Pin|DTC_LOUT_Pin;
  GPIO_InitStruct.Mode = GPIO_MODE_INPUT;
  GPIO_InitStruct.Pull = GPIO_NOPULL;
  HAL_GPIO_Init(GPIOC, &GPIO_InitStruct);

  /*Configure GPIO pins : SW1_Pin SW2_Pin */
  GPIO_InitStruct.Pin = SW1_Pin|SW2_Pin;
  GPIO_InitStruct.Mode = GPIO_MODE_IT_RISING;
  GPIO_InitStruct.Pull = GPIO_NOPULL;
  HAL_GPIO_Init(GPIOA, &GPIO_InitStruct);

  /*Configure GPIO pin : PA2 */
  GPIO_InitStruct.Pin = GPIO_PIN_2;
  GPIO_InitStruct.Mode = GPIO_MODE_AF_PP;
  GPIO_InitStruct.Pull = GPIO_NOPULL;
  GPIO_InitStruct.Speed = GPIO_SPEED_FREQ_LOW;
  GPIO_InitStruct.Alternate = GPIO_AF5_SPI1;
  HAL_GPIO_Init(GPIOA, &GPIO_InitStruct);

  /*Configure GPIO pin : BOOT1_Pin */
  GPIO_InitStruct.Pin = BOOT1_Pin;
  GPIO_InitStruct.Mode = GPIO_MODE_INPUT;
  GPIO_InitStruct.Pull = GPIO_NOPULL;
  HAL_GPIO_Init(BOOT1_GPIO_Port, &GPIO_InitStruct);

  /*Configure GPIO pin : BTN_ENC2_Pin */
  GPIO_InitStruct.Pin = BTN_ENC2_Pin;
  GPIO_InitStruct.Mode = GPIO_MODE_IT_RISING;
  GPIO_InitStruct.Pull = GPIO_NOPULL;
  HAL_GPIO_Init(BTN_ENC2_GPIO_Port, &GPIO_InitStruct);

  /*Configure GPIO pins : SET_I_LIM_Pin LED2_Pin */
  GPIO_InitStruct.Pin = SET_I_LIM_Pin|LED2_Pin;
  GPIO_InitStruct.Mode = GPIO_MODE_OUTPUT_PP;
  GPIO_InitStruct.Pull = GPIO_NOPULL;
  GPIO_InitStruct.Speed = GPIO_SPEED_FREQ_LOW;
  HAL_GPIO_Init(GPIOB, &GPIO_InitStruct);

  /*Configure GPIO pin : BTN_ENC1_Pin */
  GPIO_InitStruct.Pin = BTN_ENC1_Pin;
  GPIO_InitStruct.Mode = GPIO_MODE_IT_RISING;
  GPIO_InitStruct.Pull = GPIO_NOPULL;
  HAL_GPIO_Init(BTN_ENC1_GPIO_Port, &GPIO_InitStruct);

  /*Configure GPIO pin : SET_BOOT0_Pin */
  GPIO_InitStruct.Pin = SET_BOOT0_Pin;
  GPIO_InitStruct.Mode = GPIO_MODE_OUTPUT_PP;
  GPIO_InitStruct.Pull = GPIO_NOPULL;
  GPIO_InitStruct.Speed = GPIO_SPEED_FREQ_LOW;
  HAL_GPIO_Init(SET_BOOT0_GPIO_Port, &GPIO_InitStruct);

  /* EXTI interrupt init*/
  HAL_NVIC_SetPriority(EXTI0_IRQn, 0, 0);
  HAL_NVIC_EnableIRQ(EXTI0_IRQn);

  HAL_NVIC_SetPriority(EXTI1_IRQn, 0, 0);
  HAL_NVIC_EnableIRQ(EXTI1_IRQn);

  HAL_NVIC_SetPriority(EXTI15_10_IRQn, 0, 0);
  HAL_NVIC_EnableIRQ(EXTI15_10_IRQn);

}

/* USER CODE BEGIN 4 */
/**
  * @brief Display the current state effect struct
  * @retval None
	*	@param fx: pointer to the effect's struct
  */
void showFX(effect *fx){
	/*direct the pointers to the currently displayed effect struct*/
	para0=&(*fx).par0;
	para1=&(*fx).par1;
	para2=&(*fx).par2;
	para3=&(*fx).par3;

	/****************************************
	 * Draw the left display
	 ***************************************/

	if(state_crrnt!=0){
    // draw the left arrow
		ssd1306_SetCursor(&holedL, 2, 23);
		ssd1306_WriteString(&holedL, "<", Font_11x18, White);
		ssd1306_DrawHLine(&holedL,0,13,23,White);
		ssd1306_DrawVLine(&holedL,13,23,40,White);
		ssd1306_DrawHLine(&holedL,0,13,40,White);
		ssd1306_DrawVLine(&holedL,0,23,40,White);
	}else{
    // remove the left arrow
		ssd1306_SetCursor(&holedL, 0, 23);
		ssd1306_WriteString(&holedL, "  ", Font_11x18, White);
	}
	ssd1306_SetCursor(&holedL, 10, 0);
	if((*fx).par0.name[0]!= '\0'){
		sprintf(lcd_buf, "%s %5d %s",(*fx).par0.name, (*fx).par0.value, (*fx).par0.unit);
		ssd1306_WriteString(&holedL, lcd_buf, Font_7x10, White);
	}

	ssd1306_SetCursor(&holedL, 10, 53);
	if((*fx).par1.name[0]!= '\0'){
		if(state_crrnt==IN){
			char tmp[5];
			//check input state
			switch((*fx).par1.value){
				case 0:
					strcpy(tmp,"EXT");
					break;
				case 1:
					strcpy(tmp,"LINE");
					break;
				case 2:
					strcpy(tmp,"MIC");
					break;
				case 3:
					strcpy(tmp,"USB");
					break;
				default:
					break;
			}
			sprintf(lcd_buf, "%s %s %s",(*fx).par1.name, tmp, (*fx).par1.unit);
		} else{
			sprintf(lcd_buf, "%s %1d %s",(*fx).par1.name, (*fx).par1.value, (*fx).par1.unit);
		}
		ssd1306_WriteString(&holedL, lcd_buf, Font_7x10, White);
	}
	ssd1306_SetCursor(&holedL, 30, 23);
	ssd1306_WriteString(&holedL, (*fx).title, Font_11x18, White);
	ssd1306_UpdateScreen(&holedL);

	/****************************************
	 * Draw the right display
	 ***************************************/

	if(state_crrnt!=CNT-1){
		//draw the right arrow
		ssd1306_SetCursor(&holedR, 116, 23);
		ssd1306_WriteString(&holedR, ">", Font_11x18, White);
		ssd1306_DrawHLine(&holedR,114,127,23,White);
		ssd1306_DrawVLine(&holedR,114,23,40,White);
		ssd1306_DrawHLine(&holedR,114,127,40,White);
		ssd1306_DrawVLine(&holedR,127,23,40,White);
	}else{
		//remove the right arrow
		ssd1306_SetCursor(&holedR, 114, 23);
		ssd1306_WriteString(&holedR, "  ", Font_11x18, White);
		ssd1306_DrawVLine(&holedR,127,23,40,Black);
		ssd1306_DrawVLine(&holedR,126,23,40,Black);
		ssd1306_DrawVLine(&holedR,125,23,40,Black);
	}
	ssd1306_SetCursor(&holedR, 10, 0);
	if((*fx).par2.name[0]!= '\0'){
		sprintf(lcd_buf, "%s %5d %s",(*fx).par2.name, (*fx).par2.value, (*fx).par2.unit);
		ssd1306_WriteString(&holedR, lcd_buf, Font_7x10, White);
	}
	ssd1306_SetCursor(&holedR, 10, 53);
	if((*fx).par3.name[0]!= '\0'){
		sprintf(lcd_buf, "%s %1d %s",(*fx).par3.name, (*fx).par3.value, (*fx).par3.unit);
		ssd1306_WriteString(&holedR, lcd_buf, Font_7x10, White);
	}
	ssd1306_UpdateScreen(&holedR);
}

void clearFX(void){
		//clear the Strings & Parameters
		sprintf(lcd_buf, "                  ");
		//remove the parameters
		ssd1306_SetCursor(&holedL, 10, 0);
		ssd1306_WriteString(&holedL, lcd_buf, Font_7x10, White);
		ssd1306_SetCursor(&holedL, 10, 53);
		ssd1306_WriteString(&holedL, lcd_buf, Font_7x10, White);
		ssd1306_SetCursor(&holedR, 10, 0);
		ssd1306_WriteString(&holedR, lcd_buf, Font_7x10, White);
		ssd1306_SetCursor(&holedR, 10, 53);
		ssd1306_WriteString(&holedR, lcd_buf, Font_7x10, White);
		//remove the title
		ssd1306_SetCursor(&holedL, 30, 23);
		ssd1306_WriteString(&holedL, lcd_buf, Font_11x18, White);
		//update
		ssd1306_UpdateScreen(&holedL);
		ssd1306_UpdateScreen(&holedR);
}

/**
  * @brief Update the state of the akku
  * @retval None
  * @param None
*/

void updateAkku(void){
    float volt = BSP_ReadBatteryVoltage(10);

    //shut the uC down
    if(volt<=UNDER_VOLTAGE){
            ssd1306_Fill(&holedL, Black);
            ssd1306_Fill(&holedR, Black);
            sprintf(lcd_buf, "Going to sleep...");
            ssd1306_SetCursor(&holedL, 10, 20);
            ssd1306_WriteString(&holedL, lcd_buf, Font_7x10, White);
            ssd1306_UpdateScreen(&holedL);
            sprintf(lcd_buf, "Charge battery!");
            ssd1306_SetCursor(&holedR, 10, 20);
            ssd1306_WriteString(&holedR, lcd_buf, Font_7x10, White);
            ssd1306_UpdateScreen(&holedR);
            TLV320_PowerDown();
            HAL_PWR_EnterSTANDBYMode();
    }

    uint8_t akku_state =(volt-UNDER_VOLTAGE)/(MAX_VOLTAGE-UNDER_VOLTAGE)*100;
    /* different levels of the batterie symbol */
    if(akku_state>100)
            akku_state=100;
    if (akku_state>=84){
    level=5;
    } else if (akku_state<84 && akku_state>=68){
            level=4;
    }	else if (akku_state<68 && akku_state>=52){
            level=3;
    }	else if (akku_state<52 && akku_state>=36){
            level=2;
    }	else if (akku_state<36 && akku_state>=20){
            level=1;
    }	else if (akku_state<20){
            level=0;
    }

    ssd1306_SetCursor(&holedR, 59, 27);
    sprintf(lcd_buf, "%3.0d%%", akku_state);
    ssd1306_WriteString(&holedR, lcd_buf, Font_7x10, White);
    ssd1306_SetCursor(&holedR, 89, 27);
    ssd1306_DrawBat(&holedR,level, Bat_16x9, White);
    ssd1306_UpdateScreen(&holedR);
}

/* USER CODE END 4 */

void Error_Handler(void)
{
}

/************************ (C) COPYRIGHT STMicroelectronics *****END OF FILE****/
